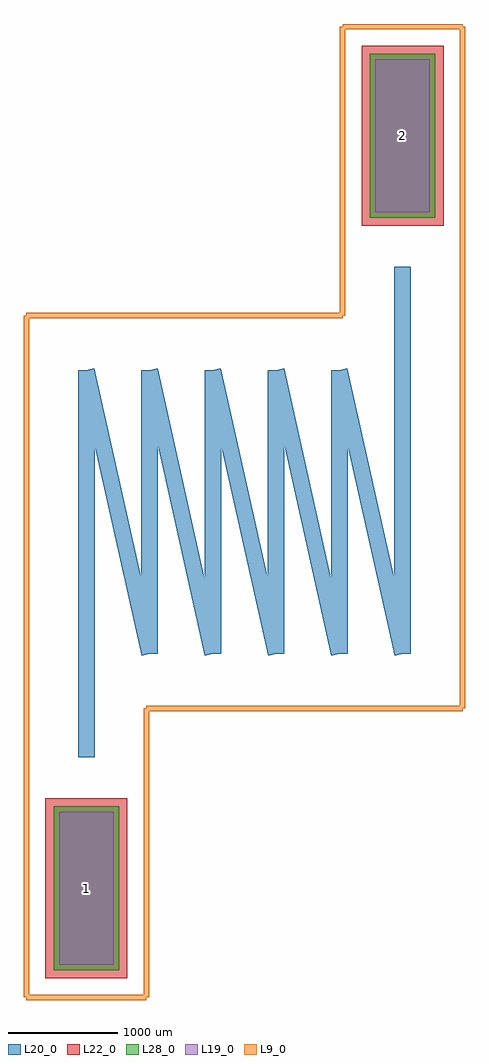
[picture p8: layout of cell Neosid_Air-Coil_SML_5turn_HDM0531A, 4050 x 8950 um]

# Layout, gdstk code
import gdstk
lib = gdstk.Library(unit=1e-6, precision=1e-09)
def R(c, l, rs):  # rectangles x0, y0, x1, y1
    for r in rs: c.add(gdstk.rectangle(r[:2], r[2:], *l))
L9_0 = (9, 0)
L19_0 = (19, 0)
L20_0 = (20, 0)
L22_0 = (22, 0)
L28_0 = (28, 0)

neosid_air_coil_sml_5tur = lib.new_cell('Neosid_Air-Coil_SML_5turn_HDM0531A')
R(neosid_air_coil_sml_5tur, L19_0, [(-1700,-4150,-1200,-2750), (1200,2750,1700,4150)])
R(neosid_air_coil_sml_5tur, L22_0, [(-1825,-4275,-1075,-2625), (1075,2625,1825,4275)])
R(neosid_air_coil_sml_5tur, L28_0, [(-1750,-4200,-1150,-2700), (1150,2700,1750,4200)])
neosid_air_coil_sml_5tur.add(gdstk.FlexPath([(1450,-1300),(1450,2250)], 149.998, ends="flush", simple_path=True, layer=20, datatype=0))  # L20_0
neosid_air_coil_sml_5tur.add(gdstk.FlexPath([(-1450,1300),(-1450,-2250)], 149.998, ends="flush", simple_path=True, layer=20, datatype=0))  # L20_0
neosid_air_coil_sml_5tur.add(gdstk.FlexPath([(290,1300),(290,-1300)], 149.998, ends="flush", simple_path=True, layer=20, datatype=0))  # L20_0
neosid_air_coil_sml_5tur.add(gdstk.FlexPath([(-870,1300),(-870,-1300)], 149.998, ends="flush", simple_path=True, layer=20, datatype=0))  # L20_0
neosid_air_coil_sml_5tur.add(gdstk.FlexPath([(870,1300),(870,-1300)], 149.998, ends="flush", simple_path=True, layer=20, datatype=0))  # L20_0
neosid_air_coil_sml_5tur.add(gdstk.FlexPath([(-1450,1300),(-870,-1300)], 149.998, ends="flush", simple_path=True, layer=20, datatype=0))  # L20_0
neosid_air_coil_sml_5tur.add(gdstk.FlexPath([(-870,1300),(-290,-1300)], 149.998, ends="flush", simple_path=True, layer=20, datatype=0))  # L20_0
neosid_air_coil_sml_5tur.add(gdstk.FlexPath([(870,1300),(1450,-1300)], 149.998, ends="flush", simple_path=True, layer=20, datatype=0))  # L20_0
neosid_air_coil_sml_5tur.add(gdstk.FlexPath([(290,1300),(870,-1300)], 149.998, ends="flush", simple_path=True, layer=20, datatype=0))  # L20_0
neosid_air_coil_sml_5tur.add(gdstk.FlexPath([(-2000,1800),(-2000,-4450)], 50, ends="flush", simple_path=True, layer=9, datatype=0))  # L9_0
neosid_air_coil_sml_5tur.add(gdstk.FlexPath([(900,1800),(-2000,1800)], 50, ends="flush", simple_path=True, layer=9, datatype=0))  # L9_0
neosid_air_coil_sml_5tur.add(gdstk.FlexPath([(900,4450),(900,1800)], 50, ends="flush", simple_path=True, layer=9, datatype=0))  # L9_0
neosid_air_coil_sml_5tur.add(gdstk.FlexPath([(2000,4450),(900,4450)], 50, ends="flush", simple_path=True, layer=9, datatype=0))  # L9_0
neosid_air_coil_sml_5tur.add(gdstk.FlexPath([(2000,-1800),(2000,4450)], 50, ends="flush", simple_path=True, layer=9, datatype=0))  # L9_0
neosid_air_coil_sml_5tur.add(gdstk.FlexPath([(-900,-1800),(2000,-1800)], 50, ends="flush", simple_path=True, layer=9, datatype=0))  # L9_0
neosid_air_coil_sml_5tur.add(gdstk.FlexPath([(-900,-4450),(-900,-1800)], 50, ends="flush", simple_path=True, layer=9, datatype=0))  # L9_0
neosid_air_coil_sml_5tur.add(gdstk.FlexPath([(-2000,-4450),(-900,-4450)], 50, ends="flush", simple_path=True, layer=9, datatype=0))  # L9_0
neosid_air_coil_sml_5tur.add(gdstk.FlexPath([(-290,1300),(-290,-1300)], 149.998, ends="flush", simple_path=True, layer=20, datatype=0))  # L20_0
neosid_air_coil_sml_5tur.add(gdstk.FlexPath([(-290,1300),(290,-1300)], 149.998, ends="flush", simple_path=True, layer=20, datatype=0))  # L20_0
neosid_air_coil_sml_5tur.add(gdstk.Label('2', (1450,3450), layer=28, texttype=0))
neosid_air_coil_sml_5tur.add(gdstk.Label('1', (-1450,-3450), layer=28, texttype=0))
neosid_air_coil_sml_5tur.add(gdstk.Label('type', (0,-5500), layer=9, texttype=0))
neosid_air_coil_sml_5tur.add(gdstk.Label('devicename', (0,5500), layer=9, texttype=0))

lib.write_gds('Neosid_Air-Coil_SML_5turn_HDM0531A.gds')
